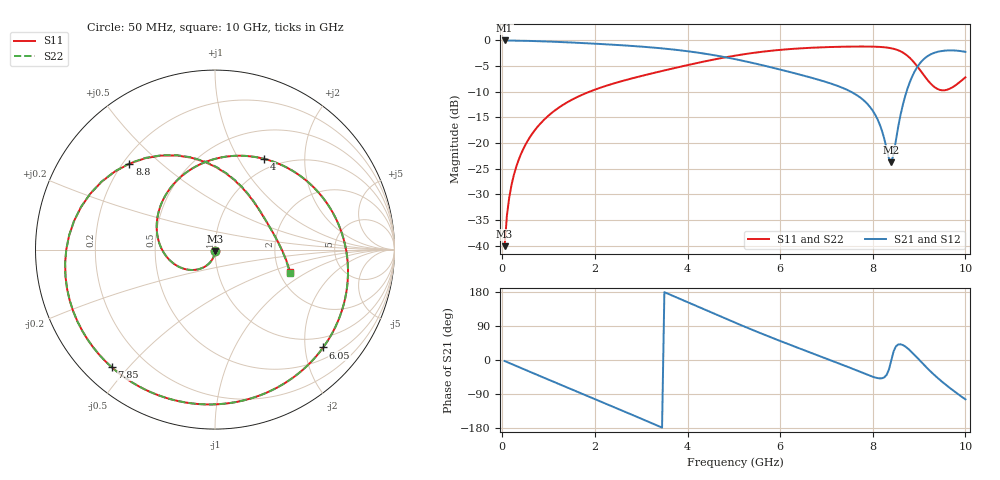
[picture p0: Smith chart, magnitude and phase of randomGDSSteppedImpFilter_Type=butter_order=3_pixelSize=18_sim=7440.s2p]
! freq	dB(S11)	phase(S11)	dB(S12)	phase(S12)
!  dB(S21)	phase(S21)	dB(S22)	phase(S22)
!S-par simulation data
#  GHz  S  DB  R 50
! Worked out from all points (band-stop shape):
!   200 points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, 50 MHz to 10 GHz, reference 50 ohm
!   highest |S21| = 0.00 dB at 50 MHz (marker M1); lowest = -23.7 dB at 8.4 GHz (marker M2)
!   |S21| within 3 dB of the highest: start of sweep to 4.654 GHz; 9.194 GHz to end of sweep
!   lowest |S11| = -40.1 dB at 50 MHz (marker M3), VSWR 1.02, Z = 50 - j0.985 ohm
!   |S11| at or under -10 dB: start of sweep to 1.882 GHz
!   |S22| runs from -40.1 to -1.2 dB; largest |S21 - S12| = 0
!   S11 on the Smith chart (normalised r, x): 50 MHz: 1.00, -0.02; 4 GHz: 0.85, +1.29; 6.05 GHz: 0.75, -2.40; 7.85 GHz: 0.08, -0.45; 8.8 GHz: 0.23, +0.40; 10 GHz: 2.28, -0.71
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0.05  -40.12 -92.2  -0.00 -2.7  -0.00 -2.7  -40.10 -92.2
0.1  -34.11 -95.0  -0.01 -5.3  -0.01 -5.3  -34.11 -95.0
0.2  -28.14 -100.5  -0.02 -10.5  -0.02 -10.5  -28.15 -100.5
0.5  -20.34 -116.6  -0.08 -26.1  -0.08 -26.1  -20.34 -116.6
1.15  -13.55 -150.5  -0.27 -59.7  -0.27 -59.7  -13.55 -150.5
1.75  -10.49 178.7  -0.52 -90.5  -0.52 -90.5  -10.49 178.7
2.65  -7.76 132.4  -0.98 -136.6  -0.98 -136.6  -7.76 132.4
3.4  -6.06 93.3  -1.51 -175.8  -1.51 -175.8  -6.06 93.3
4  -4.81 61.6  -2.10 152.5  -2.10 152.5  -4.81 61.7
5.05  -2.93 6.9  -3.69 97.3  -3.69 97.3  -2.93 6.9
6.05  -1.80 -42.1  -5.79 47.8  -5.79 47.8  -1.80 -42.1
6.7  -1.42 -72.4  -7.33 17.5  -7.33 17.5  -1.42 -72.4
7.3  -1.23 -101.0  -9.07 -10.5  -9.07 -10.5  -1.24 -101.1
7.85  -1.19 -131.3  -12.07 -37.4  -12.07 -37.4  -1.19 -131.4
8.15  -1.26 -152.3  -16.37 -48.5  -16.37 -48.5  -1.26 -152.4
8.35  -1.45 -169.8  -23.02 -24.7  -23.02 -24.7  -1.45 -169.9
8.4  -1.53 -174.7  -23.75 -0.7  -23.75 -0.7  -1.53 -174.9
8.8  -3.40 134.9  -8.13 25.7  -8.13 25.7  -3.41 134.5
9.05  -6.13 97.0  -4.12 -5.8  -4.12 -5.8  -6.14 96.4
9.25  -8.41 67.3  -2.71 -30.4  -2.71 -30.4  -8.42 66.5
9.6  -9.63 21.8  -1.96 -67.6  -1.96 -67.6  -9.61 20.9
10  -7.20 -16.9  -2.23 -103.9  -2.23 -103.9  -7.19 -17.4
